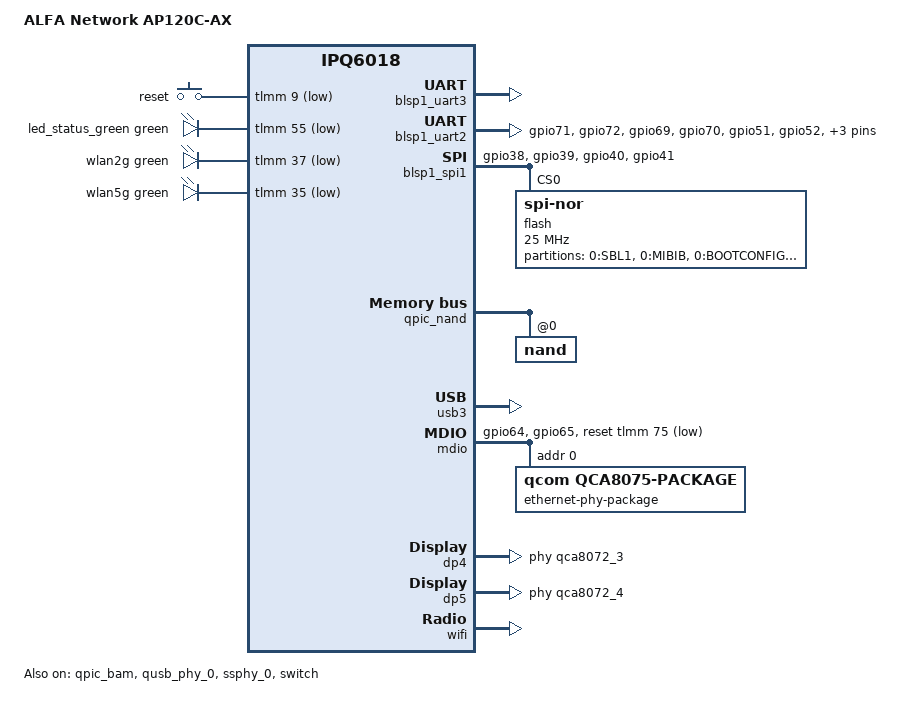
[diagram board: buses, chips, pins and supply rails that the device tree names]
// SPDX-License-Identifier: GPL-2.0-or-later OR MIT

/dts-v1/;

#include "ipq6018-512m.dtsi"
#include "ipq6018-ess.dtsi"
#include "ipq6018-cp-cpu.dtsi"

#include <dt-bindings/gpio/gpio.h>
#include <dt-bindings/input/input.h>
#include <dt-bindings/leds/common.h>

/ {
	model = "ALFA Network AP120C-AX";
	compatible = "alfa-network,ap120c-ax", "qcom,ipq6018";

	aliases {
		serial0 = &blsp1_uart3;
		serial1 = &blsp1_uart2;
		led-boot = &led_status_green;
		led-failsafe = &led_status_green;
		led-running = &led_status_green;
		led-upgrade = &led_status_green;
	};

	chosen {
		stdout-path = "serial0:115200n8";
		bootargs-append = " root=/dev/ubiblock0_1";
	};

	keys {
		compatible = "gpio-keys";
		pinctrl-0 = <&button_pins>;
		pinctrl-names = "default";

		reset {
			label = "reset";
			linux,code = <KEY_RESTART>;
			gpios = <&tlmm 9 GPIO_ACTIVE_LOW>;
		};
	};

	leds {
		compatible = "gpio-leds";
		pinctrl-0 = <&led_pins>;
		pinctrl-names = "default";

		led_status_green: status {
			color = <LED_COLOR_ID_GREEN>;
			function = LED_FUNCTION_STATUS;
			gpios = <&tlmm 55 GPIO_ACTIVE_LOW>;
		};

		wlan2g {
			color = <LED_COLOR_ID_GREEN>;
			function = LED_FUNCTION_WLAN_2GHZ;
			gpios = <&tlmm 37 GPIO_ACTIVE_LOW>;
			linux,default-trigger = "phy1radio";
		};

		wlan5g {
			color = <LED_COLOR_ID_GREEN>;
			function = LED_FUNCTION_WLAN_5GHZ;
			gpios = <&tlmm 35 GPIO_ACTIVE_LOW>;
			linux,default-trigger = "phy0radio";
		};
	};
};

&tlmm {
	btcoex_pins: btcoex_pinmux {
		mux_0 {
			pins = "gpio51";
			function = "pta1_1";
			drive-strength = <6>;
			bias-pull-down;
		};

		mux_1 {
			pins = "gpio52";
			function = "pta1_2";
			drive-strength = <6>;
			bias-pull-down;
		};

		mux_2 {
			pins = "gpio53";
			function = "pta1_0";
			drive-strength = <6>;
			bias-pull-down;
		};
	};

	btrstint_pins: btrstint_pinmux {
		pins = "gpio78", "gpio79";
		function = "gpio";
		drive-strength = <8>;
		bias-disable;
	};

	button_pins: button_pinmux {
		pins = "gpio9";
		function = "gpio";
		drive-strength = <8>;
		bias-disable;
	};

	hsuart_pins: hsuart_pinmux {
		pins = "gpio71", "gpio72", "gpio69", "gpio70";
		function = "blsp1_uart";
		drive-strength = <8>;
		bias-disable;
	};

	led_pins: led_pinmux {
		pins = "gpio35", "gpio37", "gpio55";
		function = "gpio";
		drive-strength = <8>;
		bias-pull-up;
	};

	mdio_pins: mdio_pinmux {
		mdc {
			pins = "gpio64";
			function = "mdc";
			drive-strength = <8>;
			bias-pull-up;
		};

		mdio {
			pins = "gpio65";
			function = "mdio";
			drive-strength = <8>;
			bias-pull-up;
		};
	};

	spi_pins: spi_pinmux {
		pins = "gpio38", "gpio39", "gpio40", "gpio41";
		function = "blsp0_spi";
		drive-strength = <8>;
		bias-pull-down;
	};
};

&blsp1_uart3 {
	status = "okay";

	pinctrl-0 = <&serial_3_pins>;
	pinctrl-names = "default";
};

&blsp1_uart2 {
	status = "okay";

	pinctrl-0 = <&hsuart_pins &btcoex_pins &btrstint_pins>;
	pinctrl-names = "default";

	dmas = <&blsp_dma 2>, <&blsp_dma 3>;
	dma-names = "tx", "rx";
};

&blsp1_spi1 {
	status = "okay";

	pinctrl-0 = <&spi_pins>;
	pinctrl-names = "default";

	flash@0 {
		#address-cells = <1>;
		#size-cells = <1>;
		reg = <0>;
		compatible = "jedec,spi-nor";
		spi-max-frequency = <25000000>;

		partitions {
			compatible = "fixed-partitions";
			#address-cells = <1>;
			#size-cells = <1>;

			partition@0 {
				label = "0:SBL1";
				reg = <0x00000000 0x000c0000>;
				read-only;
			};

			partition@c0000 {
				label = "0:MIBIB";
				reg = <0x000c0000 0x00010000>;
				read-only;
			};

			partition@d0000 {
				label = "0:BOOTCONFIG";
				reg = <0x000d0000 0x00020000>;
			};

			partition@f0000 {
				label = "0:BOOTCONFIG1";
				reg = <0x000f0000 0x00020000>;
			};

			partition@110000 {
				label = "0:QSEE";
				reg = <0x00110000 0x001a0000>;
				read-only;
			};

			partition@2b0000 {
				label = "0:QSEE_1";
				reg = <0x002b0000 0x001a0000>;
				read-only;
			};

			partition@450000 {
				label = "0:DEVCFG";
				reg = <0x00450000 0x00010000>;
				read-only;
			};

			partition@460000 {
				label = "0:DEVCFG_1";
				reg = <0x00460000 0x00010000>;
				read-only;
			};

			partition@470000 {
				label = "0:RPM";
				reg = <0x00470000 0x00040000>;
				read-only;
			};

			partition@4b0000 {
				label = "0:RPM_1";
				reg = <0x004b0000 0x00040000>;
				read-only;
			};

			partition@4f0000 {
				label = "0:CDT";
				reg = <0x004f0000 0x00010000>;
				read-only;
			};

			partition@500000 {
				label = "0:CDT_1";
				reg = <0x00500000 0x00010000>;
				read-only;
			};

			partition@510000 {
				label = "0:APPSBLENV";
				reg = <0x00510000 0x00010000>;
			};

			partition@520000 {
				label = "0:APPSBL";
				reg = <0x00520000 0x000a0000>;
				read-only;
			};

			partition@5c0000 {
				label = "0:APPSBL_1";
				reg = <0x005c0000 0x000a0000>;
				read-only;
			};

			partition@660000 {
				label = "0:ART";
				reg = <0x00660000 0x00040000>;

				nvmem-layout {
					compatible = "fixed-layout";
					#address-cells = <1>;
					#size-cells = <1>;

					macaddr_lan: macaddr@6 {
						reg = <0x6 0x6>;
					};

					macaddr_wan: macaddr@0 {
						reg = <0x0 0x6>;
					};
				};
			};
		};
	};
};

&qpic_bam {
	status = "okay";
};

&qpic_nand {
	status = "okay";

	/*
	 * This board uses NOR+NAND configuration which is currently not
	 * supported by 'qcomsmem' MTD parser. Let U-Boot find the NAND
	 * dt node and populate MTD partitions from SMEM partition table.
	 *
	 * This makes it possible to use QCA 'runtime failsafe' and rotate
	 * 'rootfs'/'rootfs_1' partitions between subsequent updates.
	 */
	compatible = "qcom,ipq6018-nand", "qcom,ebi2-nandc-bam-v1.5.0";

	nand@0 {
		reg = <0>;
		nand-bus-width = <8>;
	};
};

&qusb_phy_0 {
	status = "okay";
};

&ssphy_0 {
	status = "okay";
};

&usb3 {
	status = "okay";
};

&mdio {
	status = "okay";

	pinctrl-0 = <&mdio_pins>;
	pinctrl-names = "default";
	reset-gpios = <&tlmm 75 GPIO_ACTIVE_LOW>;
	reset-delay-us = <10000>;
	reset-post-delay-us = <50000>;

	ethernet-phy-package@0 {
		compatible = "qcom,qca8075-package";
		#address-cells = <1>;
		#size-cells = <0>;
		reg = <0>;

		qcom,package-mode = "psgmii";

		qca8072_3: ethernet-phy@3 {
			compatible = "ethernet-phy-ieee802.3-c22";
			reg = <3>;
		};

		qca8072_4: ethernet-phy@4 {
			compatible = "ethernet-phy-ieee802.3-c22";
			reg = <4>;
		};
	};
};

&switch {
	status = "okay";

	switch_lan_bmp = <ESS_PORT4>;
	switch_wan_bmp = <ESS_PORT5>;

	switch_mac_mode = <MAC_MODE_PSGMII>;

	qcom,port_phyinfo {
		port@4 {
			port_id = <4>;
			phy_address = <3>;
		};

		port@5 {
			port_id = <5>;
			phy_address = <4>;
		};
	};
};

&edma {
	status = "okay";
};

&dp4 {
	status = "okay";

	phy-handle = <&qca8072_3>;
	label = "lan";
	nvmem-cells = <&macaddr_lan>;
	nvmem-cell-names = "mac-address";
};

&dp5 {
	status = "okay";

	phy-handle = <&qca8072_4>;
	label = "wan";
	nvmem-cells = <&macaddr_wan>;
	nvmem-cell-names = "mac-address";
};

&wifi {
	status = "okay";

	qcom,ath11k-fw-memory-mode = <1>;
	qcom,ath11k-calibration-variant = "ALFA-Network-AP120C-AX";
};
